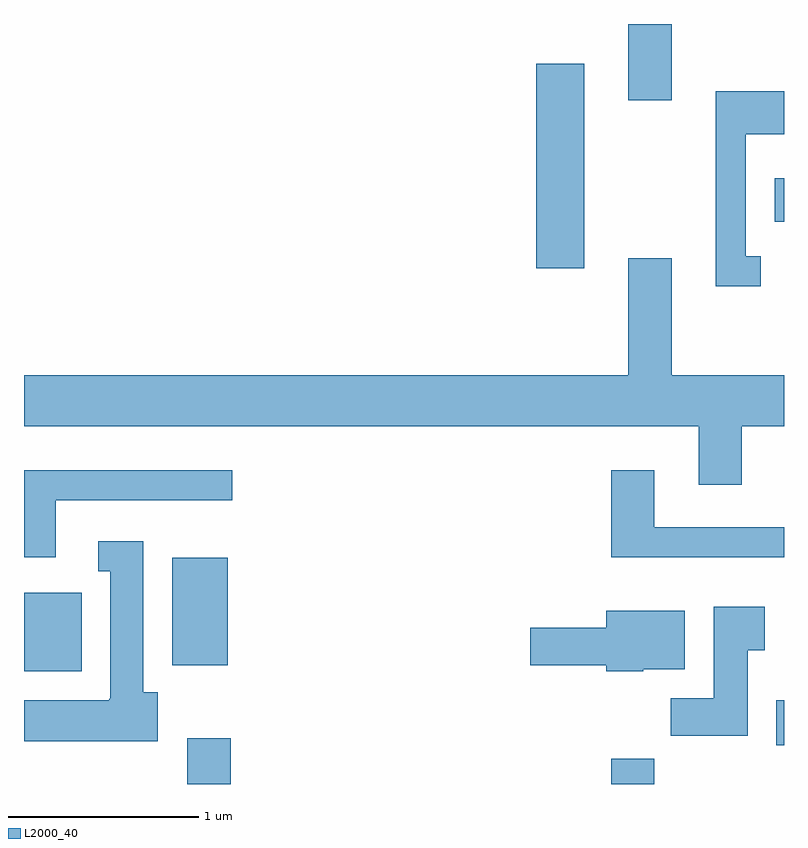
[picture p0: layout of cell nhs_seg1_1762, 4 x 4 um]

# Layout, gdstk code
import gdstk
lib = gdstk.Library(unit=1e-6, precision=1e-09)
def R(c, l, rs):  # rectangles x0, y0, x1, y1
    for r in rs: c.add(gdstk.rectangle(r[:2], r[2:], *l))
def P(c, l, *ps):  # polygons
    for p in ps: c.add(gdstk.Polygon(p, *l))
L2000_40 = (2000, 40)

nhs_seg1_1762 = lib.new_cell('nhs_seg1_1762')
R(nhs_seg1_1762, L2000_40, [(240.471,877.712,240.699,877.954), (242.701,877.712,242.929,877.844), (243.571,877.916,243.611,878.154), (239.611,878.306,239.914,878.719), (240.391,878.336,240.684,878.904), (242.306,880.426,242.559,881.504), (243.561,880.671,243.611,880.899), (242.791,881.311,243.019,881.712)])
P(nhs_seg1_1762, L2000_40, [(243.488,880.489),(243.409,880.489),(243.409,881.131),(243.611,881.131),(243.611,881.359),(243.251,881.359),(243.251,880.331),(243.488,880.331)],
  [(243.389,879.596),(243.611,879.596),(243.611,879.864),(243.019,879.864),(243.019,880.479),(242.791,880.479),(242.791,879.864),(239.611,879.864),(239.611,879.596),(243.161,879.596),(243.161,879.286),(243.389,879.286)],
  [(239.779,879.206),(240.708,879.206),(240.708,879.364),(239.611,879.364),(239.611,878.906),(239.779,878.906)],
  [(243.611,879.064),(242.929,879.064),(242.929,879.364),(242.701,879.364),(242.701,878.906),(243.611,878.906)],
  [(240.314,878.194),(240.239,878.194),(240.239,878.989),(240.003,878.989),(240.003,878.831),(240.066,878.831),(240.066,878.16),(240.06,878.16),(240.06,878.154),(239.611,878.154),(239.611,877.936),(240.314,877.936)],
  [(243.419,878.416),(243.509,878.416),(243.509,878.644),(243.241,878.644),(243.241,878.164),(243.016,878.164),(243.016,877.966),(243.419,877.966)],
  [(242.87,878.316),(243.089,878.316),(243.089,878.624),(242.676,878.624),(242.676,878.534),(242.276,878.534),(242.276,878.336),(242.676,878.336),(242.676,878.306),(242.87,878.306)])

lib.write_gds('nhs_seg1_1762.gds')
